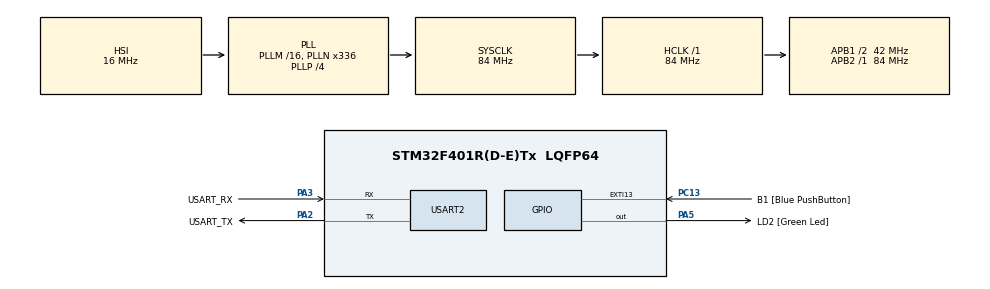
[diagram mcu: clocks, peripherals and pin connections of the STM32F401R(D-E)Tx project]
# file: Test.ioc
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Mcu.Family=STM32F4
Mcu.Name=STM32F401R(D-E)Tx
Mcu.Package=LQFP64
NVIC.PriorityGroup=NVIC_PRIORITYGROUP_4
PA13.GPIO_Label=TMS
PA13.Mode=Trace_Asynchronous_SW
PA13.Signal=SYS_JTMS-SWDIO
PA14.GPIO_Label=TCK
PA14.Mode=Trace_Asynchronous_SW
PA14.Signal=SYS_JTCK-SWCLK
PA2.GPIO_Label=USART_TX
PA2.GPIO_Mode=GPIO_MODE_AF_PP
PA2.GPIO_PuPd=GPIO_NOPULL
PA2.GPIO_Speed=GPIO_SPEED_FREQ_LOW
PA2.Mode=Asynchronous
PA2.Signal=USART2_TX
PA3.GPIO_Label=USART_RX
PA3.GPIO_Mode=GPIO_MODE_AF_PP
PA3.GPIO_PuPd=GPIO_NOPULL
PA3.GPIO_Speed=GPIO_SPEED_FREQ_LOW
PA3.Mode=Asynchronous
PA3.Signal=USART2_RX
PA5.GPIO_Label=LD2 [Green Led]
PA5.GPIO_Mode=GPIO_MODE_OUTPUT_PP
PA5.GPIO_PuPd=GPIO_NOPULL
PA5.GPIO_Speed=GPIO_SPEED_FREQ_LOW
PA5.Signal=GPIO_Output
PB3.GPIO_Label=SWO
PB3.Mode=Trace_Asynchronous_SW
PB3.Signal=SYS_JTDO-SWO
PC13-ANTI_TAMP.GPIO_Label=B1 [Blue PushButton]
PC13-ANTI_TAMP.GPIO_ModeDefaultEXTI=GPIO_MODE_IT_FALLING
PC13-ANTI_TAMP.GPIO_PuPd=GPIO_NOPULL
PC13-ANTI_TAMP.Signal=GPXTI13
PC14-OSC32_IN.Mode=LSE-External-Oscillator
PC14-OSC32_IN.Signal=RCC_OSC32_IN
PC15-OSC32_OUT.Mode=LSE-External-Oscillator
PC15-OSC32_OUT.Signal=RCC_OSC32_OUT
PH0\ -\ OSC_IN.Mode=HSE-External-Clock-Source
PH0\ -\ OSC_IN.Signal=RCC_OSC_IN
PH1\ -\ OSC_OUT.Mode=HSE-External-Clock-Source
PH1\ -\ OSC_OUT.Signal=RCC_OSC_OUT
ProjectManager.HeapSize=0x200
ProjectManager.StackSize=0x400
ProjectManager.TargetToolchain=STM32CubeIDE
RCC.48MHZClocksFreq_Value=48000000
RCC.AHBFreq_Value=84000000
RCC.APB1CLKDivider=RCC_HCLK_DIV2
RCC.APB1Freq_Value=42000000
RCC.APB1TimFreq_Value=84000000
RCC.APB2Freq_Value=84000000
RCC.APB2TimFreq_Value=84000000
RCC.CortexFreq_Value=84000000
RCC.HCLKFreq_Value=84000000
RCC.HSE_VALUE=8000000
RCC.HSI_VALUE=16000000
RCC.PLLN=336
RCC.PLLP=RCC_PLLP_DIV4
RCC.PLLQ=7
RCC.SYSCLKFreq_VALUE=84000000
RCC.SYSCLKSource=RCC_SYSCLKSOURCE_PLLCLK
RCC.VCOOutputFreq_Value=336000000
USART2.VirtualMode=VM_ASYNC
board=NUCLEO-F401RE

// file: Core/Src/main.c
/* USER CODE BEGIN Header */
/**
  ******************************************************************************
  * @file           : main.c
  * @brief          : Main program body
  ******************************************************************************
  * @attention
  *
  * Copyright (c) 2025 STMicroelectronics.
  * All rights reserved.
  *
  * This software is licensed under terms that can be found in the LICENSE file
  * in the root directory of this software component.
  * If no LICENSE file comes with this software, it is provided AS-IS.
  *
  ******************************************************************************
  */
/* USER CODE END Header */
#include "main.h"
#include "FreeRTOS.h"
#include "task.h"
#include "queue.h"

UART_HandleTypeDef huart2;

void SystemClock_Config(void);
static void MX_GPIO_Init(void);
static void MX_USART2_UART_Init(void);

/* USER CODE BEGIN 0 */
void vPrintString(const char *str) {
//	vTaskSuspendScheduler();
    HAL_UART_Transmit(&huart2, (uint8_t*)str, strlen(str), HAL_MAX_DELAY);
//    xTaskResumeScheduler();
}

static const char *pcTextForTask1 = "<Task 1> is running\r\n";
static const char *pcTextForTask2 = "<Task 2> is running\r\n";
void vTaskFunction(void *pvParameters){
	char *pcTaskName;
	const TickType_t xDelay250ms = pdMS_TO_TICKS(250);
	pcTaskName = (char *)pvParameters;
	for(;;){
		vPrintString(pcTaskName);
		vTaskDelay(xDelay250ms);
	}
}
/* USER CODE BEGIN 4 */
void vApplicationMallocFailedHook(void) {
    while(1);
}

void vApplicationIdleHook(void) {
    // Optional: Idle task hook
}

void vApplicationTickHook(void) {
    // Optional: Tick hook
}

void vApplicationStackOverflowHook(TaskHandle_t xTask, char *pcTaskName) {
    while(1);
}

void vApplicationGetIdleTaskMemory( StaticTask_t **ppxIdleTaskTCBBuffer,
                                   StackType_t **ppxIdleTaskStackBuffer,
                                   uint32_t *pulIdleTaskStackSize ) {
  static StaticTask_t xIdleTaskTCB;
  static StackType_t uxIdleTaskStack[ configMINIMAL_STACK_SIZE ];

  *ppxIdleTaskTCBBuffer = &xIdleTaskTCB;
  *ppxIdleTaskStackBuffer = uxIdleTaskStack;
  *pulIdleTaskStackSize = configMINIMAL_STACK_SIZE;
}

void vApplicationGetTimerTaskMemory( StaticTask_t **ppxTimerTaskTCBBuffer,
                                    StackType_t **ppxTimerTaskStackBuffer,
                                    uint32_t *pulTimerTaskStackSize ) {
  static StaticTask_t xTimerTaskTCB;
  static StackType_t uxTimerTaskStack[ configTIMER_TASK_STACK_DEPTH ];

  *ppxTimerTaskTCBBuffer = &xTimerTaskTCB;
  *ppxTimerTaskStackBuffer = uxTimerTaskStack;
  *pulTimerTaskStackSize = configTIMER_TASK_STACK_DEPTH;
}
/* USER CODE END 4 */
/* USER CODE END 0 */

int main(void)
{

  /* MCU Configuration--------------------------------------------------------*/

  /* Reset of all peripherals, Initializes the Flash interface and the Systick. */
  HAL_Init();

  /* Configure the system clock */
  SystemClock_Config();

  /* Initialize all configured peripherals */
  MX_GPIO_Init();
  MX_USART2_UART_Init();
  /* USER CODE BEGIN 2 */
  xTaskCreate(vTaskFunction, "Task 1", 1000, (void*)pcTextForTask1, 1, NULL);
  xTaskCreate(vTaskFunction, "Task 2", 1000, (void*)pcTextForTask2, 2, NULL);
  vTaskStartScheduler();
  /* USER CODE END 2 */

  /* Infinite loop */
  while (1)
  {

  }
}

void SystemClock_Config(void)
{
  RCC_OscInitTypeDef RCC_OscInitStruct = {0};
  RCC_ClkInitTypeDef RCC_ClkInitStruct = {0};

  /** Configure the main internal regulator output voltage
  */
  __HAL_RCC_PWR_CLK_ENABLE();
  __HAL_PWR_VOLTAGESCALING_CONFIG(PWR_REGULATOR_VOLTAGE_SCALE2);

  /** Initializes the RCC Oscillators according to the specified parameters
  * in the RCC_OscInitTypeDef structure.
  */
  RCC_OscInitStruct.OscillatorType = RCC_OSCILLATORTYPE_HSI;
  RCC_OscInitStruct.HSIState = RCC_HSI_ON;
  RCC_OscInitStruct.HSICalibrationValue = RCC_HSICALIBRATION_DEFAULT;
  RCC_OscInitStruct.PLL.PLLState = RCC_PLL_ON;
  RCC_OscInitStruct.PLL.PLLSource = RCC_PLLSOURCE_HSI;
  RCC_OscInitStruct.PLL.PLLM = 16;
  RCC_OscInitStruct.PLL.PLLN = 336;
  RCC_OscInitStruct.PLL.PLLP = RCC_PLLP_DIV4;
  RCC_OscInitStruct.PLL.PLLQ = 7;
  if (HAL_RCC_OscConfig(&RCC_OscInitStruct) != HAL_OK)
  {
    Error_Handler();
  }

  /** Initializes the CPU, AHB and APB buses clocks
  */
  RCC_ClkInitStruct.ClockType = RCC_CLOCKTYPE_HCLK|RCC_CLOCKTYPE_SYSCLK
                              |RCC_CLOCKTYPE_PCLK1|RCC_CLOCKTYPE_PCLK2;
  RCC_ClkInitStruct.SYSCLKSource = RCC_SYSCLKSOURCE_PLLCLK;
  RCC_ClkInitStruct.AHBCLKDivider = RCC_SYSCLK_DIV1;
  RCC_ClkInitStruct.APB1CLKDivider = RCC_HCLK_DIV2;
  RCC_ClkInitStruct.APB2CLKDivider = RCC_HCLK_DIV1;

  if (HAL_RCC_ClockConfig(&RCC_ClkInitStruct, FLASH_LATENCY_2) != HAL_OK)
  {
    Error_Handler();
  }
}

static void MX_USART2_UART_Init(void)
{

  huart2.Instance = USART2;
  huart2.Init.BaudRate = 115200;
  huart2.Init.WordLength = UART_WORDLENGTH_8B;
  huart2.Init.StopBits = UART_STOPBITS_1;
  huart2.Init.Parity = UART_PARITY_NONE;
  huart2.Init.Mode = UART_MODE_TX_RX;
  huart2.Init.HwFlowCtl = UART_HWCONTROL_NONE;
  huart2.Init.OverSampling = UART_OVERSAMPLING_16;
  if (HAL_UART_Init(&huart2) != HAL_OK)
  {
    Error_Handler();
  }

}

static void MX_GPIO_Init(void)
{
  GPIO_InitTypeDef GPIO_InitStruct = {0};

  /* GPIO Ports Clock Enable */
  __HAL_RCC_GPIOC_CLK_ENABLE();
  __HAL_RCC_GPIOH_CLK_ENABLE();
  __HAL_RCC_GPIOA_CLK_ENABLE();
  __HAL_RCC_GPIOB_CLK_ENABLE();

  /*Configure GPIO pin Output Level */
  HAL_GPIO_WritePin(LD2_GPIO_Port, LD2_Pin, GPIO_PIN_RESET);

  /*Configure GPIO pin : B1_Pin */
  GPIO_InitStruct.Pin = B1_Pin;
  GPIO_InitStruct.Mode = GPIO_MODE_IT_FALLING;
  GPIO_InitStruct.Pull = GPIO_NOPULL;
  HAL_GPIO_Init(B1_GPIO_Port, &GPIO_InitStruct);

  /*Configure GPIO pin : LD2_Pin */
  GPIO_InitStruct.Pin = LD2_Pin;
  GPIO_InitStruct.Mode = GPIO_MODE_OUTPUT_PP;
  GPIO_InitStruct.Pull = GPIO_NOPULL;
  GPIO_InitStruct.Speed = GPIO_SPEED_FREQ_LOW;
  HAL_GPIO_Init(LD2_GPIO_Port, &GPIO_InitStruct);

}

void Error_Handler(void)
{
  __disable_irq();
  while (1)
  {
  }
}
